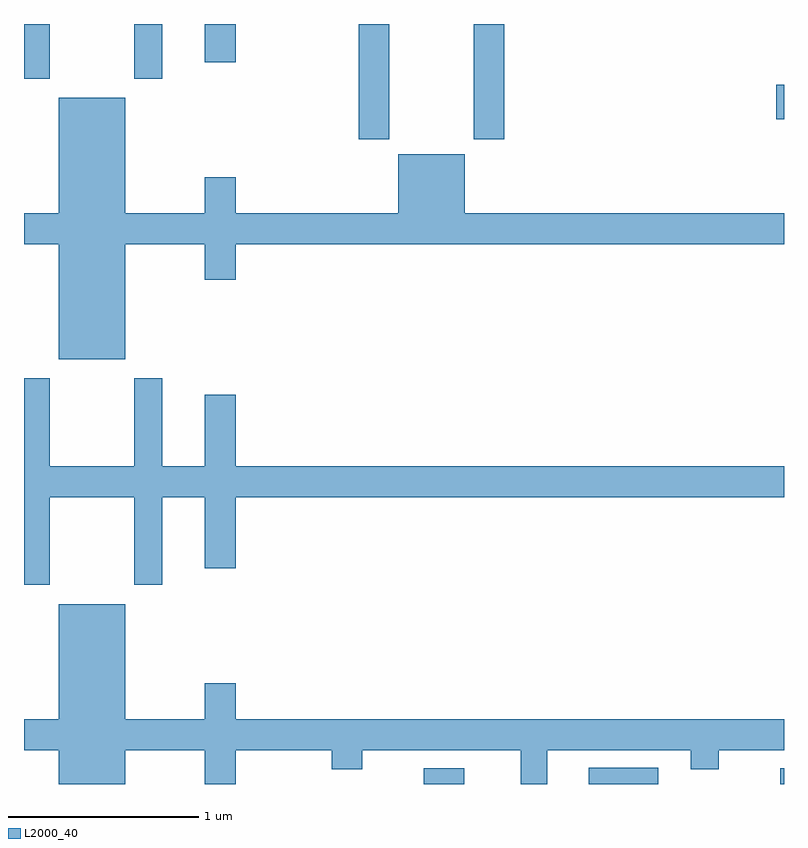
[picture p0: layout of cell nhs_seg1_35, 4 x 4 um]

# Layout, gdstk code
import gdstk
lib = gdstk.Library(unit=1e-6, precision=1e-09)
def R(c, l, rs):  # rectangles x0, y0, x1, y1
    for r in rs: c.add(gdstk.rectangle(r[:2], r[2:], *l))
def P(c, l, *ps):  # polygons
    for p in ps: c.add(gdstk.Polygon(p, *l))
L2000_40 = (2000, 40)

nhs_seg1_35 = lib.new_cell('nhs_seg1_35')
R(nhs_seg1_35, L2000_40, [(113.103,574.199,113.317,574.281), (113.973,574.199,114.337,574.284), (114.981,574.199,115,574.281), (112.763,577.593,112.923,578.199), (113.368,577.593,113.528,578.199), (114.96,577.697,115,577.88), (111,577.911,111.135,578.199), (111.58,577.911,111.727,578.199), (111.95,577.998,112.114,578.199)])
P(nhs_seg1_35, L2000_40, [(111.532,577.04),(111.95,577.04),(111.95,576.852),(112.114,576.852),(112.114,577.04),(115,577.04),(115,577.204),(113.32,577.204),(113.32,577.513),(112.97,577.513),(112.97,577.204),(112.114,577.204),(112.114,577.393),(111.95,577.393),(111.95,577.204),(111.532,577.204),(111.532,577.81),(111.182,577.81),(111.182,577.204),(111,577.204),(111,577.04),(111.182,577.04),(111.182,576.434),(111.532,576.434)],
  [(111.135,575.708),(111.58,575.708),(111.58,575.247),(111.727,575.247),(111.727,575.708),(111.95,575.708),(111.95,575.334),(112.114,575.334),(112.114,575.708),(115,575.708),(115,575.872),(112.114,575.872),(112.114,576.247),(111.95,576.247),(111.95,575.872),(111.727,575.872),(111.727,576.334),(111.58,576.334),(111.58,575.872),(111.135,575.872),(111.135,576.334),(111,576.334),(111,575.247),(111.135,575.247)],
  [(111.532,574.376),(111.95,574.376),(111.95,574.199),(112.114,574.199),(112.114,574.376),(112.619,574.376),(112.619,574.277),(112.779,574.277),(112.779,574.376),(113.615,574.376),(113.615,574.199),(113.755,574.199),(113.755,574.376),(114.509,574.376),(114.509,574.277),(114.657,574.277),(114.657,574.376),(115,574.376),(115,574.54),(112.114,574.54),(112.114,574.729),(111.95,574.729),(111.95,574.54),(111.532,574.54),(111.532,575.146),(111.182,575.146),(111.182,574.54),(111,574.54),(111,574.376),(111.182,574.376),(111.182,574.199),(111.532,574.199)])

lib.write_gds('nhs_seg1_35.gds')
